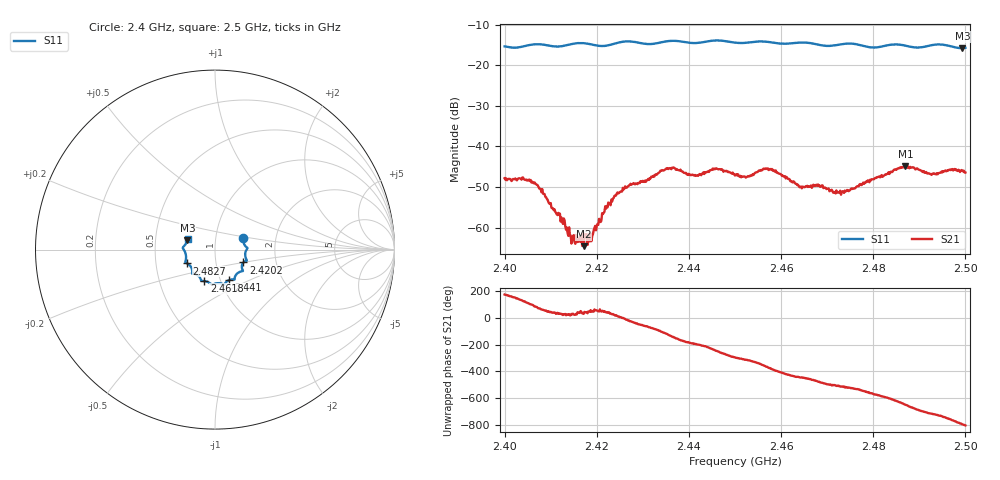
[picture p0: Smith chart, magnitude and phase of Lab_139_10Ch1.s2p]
# Hz S RI R 50
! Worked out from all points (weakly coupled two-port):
!   601 points, 2.4 GHz to 2.5 GHz, reference 50 ohm
!   highest |S21| = -44.85 dB at 2.487 GHz (marker M1); lowest = -64.5 dB at 2.4172 GHz (marker M2)
!   lowest |S11| = -15.8 dB at 2.4993 GHz (marker M3), VSWR 1.39, Z = 36.5 + j3.83 ohm
!   |S11| at or under -10 dB: start of sweep to end of sweep
!   S12 and S22 are empty: the file has one direction only
!   S11 on the Smith chart (normalised r, x): 2.4 GHz: 1.36, +0.18; 2.4202 GHz: 1.36, -0.20; 2.441 GHz: 1.10, -0.39; 2.4618 GHz: 0.84, -0.30; 2.4827 GHz: 0.72, -0.12; 2.5 GHz: 0.73, +0.09
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2.4e9  0.1583 0.0628  -0.00406 0.000229  0 0  0 0
2.406833e9  0.1808 0.00919  0.00037 0.00342  0 0  0 0
2.414167e9  0.1727 -0.0504  0.000761 0.000281  0 0  0 0
2.416667e9  0.1773 -0.0608  0.000561 0.000581  0 0  0 0
2.417167e9  0.1762 -0.0616  0.000505 0.000313  0 0  0 0
2.4185e9  0.1702 -0.0638  0.00046 0.000501  0 0  0 0
2.420167e9  0.1586 -0.0714  0.000644 0.000909  0 0  0 0
2.424333e9  0.1521 -0.109  0.0025 0.000797  0 0  0 0
2.433333e9  0.1115 -0.1508  -6.95e-05 -0.0047  0 0  0 0
2.436333e9  0.1087 -0.1672  -0.00413 -0.0036  0 0  0 0
2.441e9  0.0787 -0.1699  -0.00429 0.00108  0 0  0 0
2.445667e9  0.0507 -0.1947  -0.00247 0.00464  0 0  0 0
2.45e9  0.0284 -0.1875  0.00184 0.004  0 0  0 0
2.456667e9  -0.0186 -0.1939  0.00535 -0.000305  0 0  0 0
2.461833e9  -0.0592 -0.1753  0.0015 -0.00365  0 0  0 0
2.466667e9  -0.0787 -0.1683  -0.000756 -0.00301  0 0  0 0
2.4735e9  -0.1233 -0.1345  -0.00256 -0.00105  0 0  0 0
2.482667e9  -0.1559 -0.0772  -0.00262 0.00372  0 0  0 0
2.483333e9  -0.1601 -0.0752  -0.00224 0.00428  0 0  0 0
2.487e9  -0.1632 -0.0599  0.00201 0.00536  0 0  0 0
2.499333e9  -0.1539 0.0512  0.00106 -0.00496  0 0  0 0
2.5e9  -0.1522 0.0605  0.000275 -0.00476  0 0  0 0
